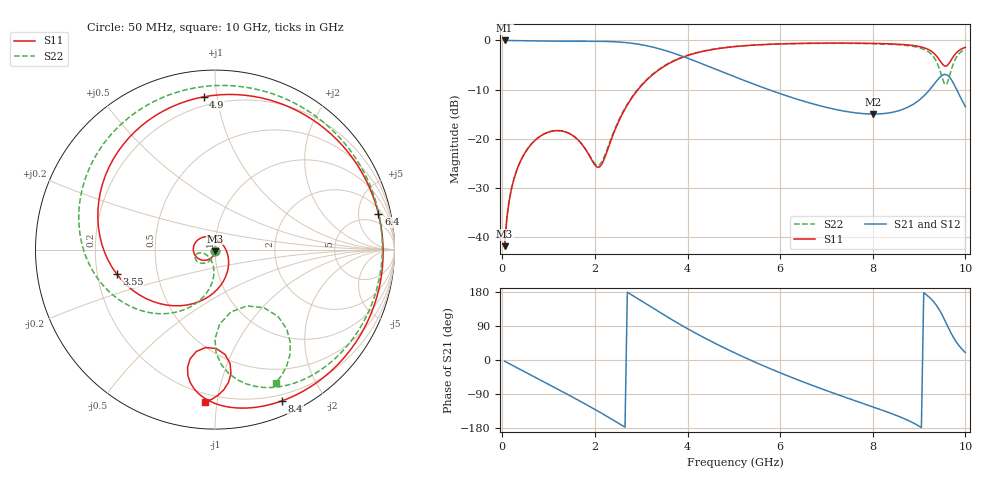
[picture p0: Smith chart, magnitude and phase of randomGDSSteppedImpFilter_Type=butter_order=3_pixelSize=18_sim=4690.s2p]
! freq	dB(S11)	phase(S11)	dB(S12)	phase(S12)
!  dB(S21)	phase(S21)	dB(S22)	phase(S22)
!S-par simulation data
#  GHz  S  DB  R 50
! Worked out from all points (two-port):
!   200 points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, 50 MHz to 10 GHz, reference 50 ohm
!   highest |S21| = -0.01 dB at 50 MHz (marker M1); lowest = -15.0 dB at 8 GHz (marker M2)
!   |S21| within 3 dB of the highest: start of sweep to 3.824 GHz
!   lowest |S11| = -41.9 dB at 50 MHz (marker M3), VSWR 1.02, Z = 50 - j0.805 ohm
!   |S11| at or under -10 dB: start of sweep to 2.932 GHz
!   |S22| runs from -41.9 to -0.6 dB; largest |S21 - S12| = 0
!   S11 on the Smith chart (normalised r, x): 50 MHz: 1.00, -0.02; 3.55 GHz: 0.28, -0.11; 4.9 GHz: 0.15, +0.92; 6.4 GHz: 2.74, +8.35; 8.4 GHz: 0.14, -1.53; 10 GHz: 0.15, -0.93
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0.05  -41.87 -91.7  -0.01 -3.3  -0.01 -3.3  -41.85 -90.5
0.25  -28.25 -108.5  -0.03 -16.2  -0.03 -16.2  -28.23 -103.4
0.6  -21.41 -135.3  -0.08 -38.6  -0.08 -38.6  -21.38 -122.9
1.2  -18.36 177.3  -0.16 -77.2  -0.16 -77.2  -18.34 -153.0
1.75  -21.52 120.6  -0.17 -113.3  -0.17 -113.3  -21.48 -167.8
2.1  -25.77 31.9  -0.18 -137.4  -0.18 -137.4  -25.31 -127.3
2.6  -14.82 -74.9  -0.38 -173.7  -0.38 -173.7  -14.63 -95.2
3.4  -5.86 -153.2  -1.73 125.7  -1.73 125.7  -5.76 -137.5
3.55  -4.96 -166.1  -2.14 114.6  -2.14 114.6  -4.87 -146.7
4.15  -2.65 146.0  -4.15 72.5  -4.15 72.5  -2.59 177.5
4.9  -1.38 94.2  -6.96 25.6  -6.96 25.6  -1.34 136.1
5.05  -1.23 84.9  -7.52 16.9  -7.52 16.9  -1.20 128.1
5.75  -0.80 44.7  -10.00 -21.1  -10.00 -21.1  -0.80 92.1
6.4  -0.61 12.4  -12.06 -53.3  -12.06 -53.3  -0.64 59.5
6.7  -0.57 -1.2  -12.89 -67.2  -12.89 -67.2  -0.60 44.7
8  -0.60 -52.0  -14.98 -123.5  -14.98 -123.5  -0.67 -16.8
8.35  -0.69 -64.3  -14.75 -138.8  -14.75 -138.8  -0.78 -32.8
8.4  -0.71 -66.1  -14.67 -141.1  -14.67 -141.1  -0.80 -35.1
9.05  -1.34 -90.1  -11.76 -178.4  -11.76 -178.4  -1.62 -67.7
9.4  -3.44 -103.1  -8.01 139.7  -8.01 139.7  -4.81 -89.4
9.65  -4.63 -84.5  -7.39 80.8  -7.39 80.8  -7.46 -49.9
10  -1.41 -93.6  -13.49 19.5  -13.49 19.5  -1.77 -65.4
